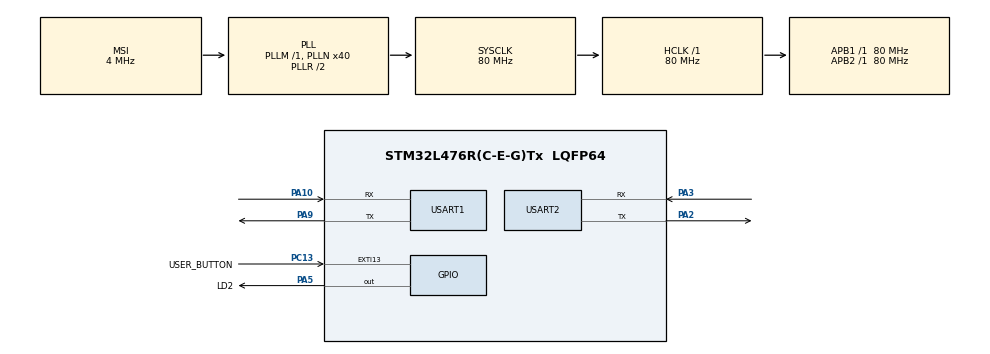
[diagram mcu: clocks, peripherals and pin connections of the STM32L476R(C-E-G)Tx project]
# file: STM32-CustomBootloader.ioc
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CRC.InputDataFormat=CRC_INPUTDATA_FORMAT_WORDS
Mcu.Family=STM32L4
Mcu.Name=STM32L476R(C-E-G)Tx
Mcu.Package=LQFP64
NVIC.EXTI15_10_IRQn=true\:6\:0\:true\:false\:true\:true\:true\:true
NVIC.PriorityGroup=NVIC_PRIORITYGROUP_4
NVIC.USART1_IRQn=true\:0\:0\:true\:false\:true\:true\:true\:true
NVIC.USART2_IRQn=true\:0\:0\:true\:false\:true\:true\:true\:true
PA10.Mode=Asynchronous
PA10.Signal=USART1_RX
PA2.Mode=Asynchronous
PA2.Signal=USART2_TX
PA3.Mode=Asynchronous
PA3.Signal=USART2_RX
PA5.GPIO_Label=LD2
PA5.Signal=GPIO_Output
PA9.Mode=Asynchronous
PA9.Signal=USART1_TX
PC13.GPIO_Label=USER_BUTTON
PC13.Signal=GPXTI13
ProjectManager.HeapSize=0x200
ProjectManager.StackSize=0x400
ProjectManager.TargetToolchain=STM32CubeIDE
RCC.AHBFreq_Value=80000000
RCC.APB1Freq_Value=80000000
RCC.APB1TimFreq_Value=80000000
RCC.APB2Freq_Value=80000000
RCC.APB2TimFreq_Value=80000000
RCC.CortexFreq_Value=80000000
RCC.HCLKFreq_Value=80000000
RCC.HSE_VALUE=8000000
RCC.HSI_VALUE=16000000
RCC.LSE_VALUE=32768
RCC.MSI_VALUE=4000000
RCC.PLLN=40
RCC.SYSCLKFreq_VALUE=80000000
RCC.SYSCLKSource=RCC_SYSCLKSOURCE_PLLCLK
RCC.VCOOutputFreq_Value=160000000
USART1.VirtualMode-Asynchronous=VM_ASYNC
USART2.VirtualMode-Asynchronous=VM_ASYNC
VP_CRC_VS_CRC.Mode=CRC_Activate
board=custom

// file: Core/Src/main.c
/* USER CODE BEGIN Header */
/**
 ******************************************************************************
 * @file           : main.c
 * @brief          : Main program body
 ******************************************************************************
 * @attention
 *
 * Copyright (c) 2023 STMicroelectronics.
 * All rights reserved.
 *
 * This software is licensed under terms that can be found in the LICENSE file
 * in the root directory of this software component.
 * If no LICENSE file comes with this software, it is provided AS-IS.
 *
 ******************************************************************************
 */
/* USER CODE END Header */
#include "main.h"
#include "crc.h"
#include "usart.h"
#include "gpio.h"

/* USER CODE BEGIN Includes */
#include <stdbool.h>
#include <string.h>
#include "ioputchar.h"
#include "boot.h"
/* USER CODE END Includes */

/* USER CODE BEGIN PV */
// Address for main program to be executed after jump from bootloader
uint32_t const APPLICATION_ADDRESS = 0x08008000UL;
uint32_t applicationSize = 0;

UART_HandleTypeDef *uart[2] = { &huart1, &huart2 };
bool g_waitForUsart = true;
bool g_jumpToApp = false;
/* USER CODE END PV */

void SystemClock_Config(void);

/* USER CODE BEGIN 0 */
/*void HAL_UART_RxCpltCallback(UART_HandleTypeDef *huart) {
	if (huart->Instance == USART1) {
		mainUart = uart[0];
	}
	if (huart->Instance == USART2) {
		mainUart = uart[1];
	}
	g_waitForUsart = false;
}*/

void HAL_GPIO_EXTI_Callback(uint16_t pin) {
	if (pin == USER_BUTTON_Pin)
		g_jumpToApp = true;
}
/* USER CODE END 0 */

int main(void) {

	/* MCU Configuration--------------------------------------------------------*/

	/* Reset of all peripherals, Initializes the Flash interface and the Systick. */
	HAL_Init();

	/* Configure the system clock */
	SystemClock_Config();

	/* Initialize all configured peripherals */
	MX_GPIO_Init();
	MX_USART1_UART_Init();
	MX_USART2_UART_Init();
	MX_CRC_Init();
	/* USER CODE BEGIN 2 */
	// Startup test for CRC
	uint32_t echo = 0x12345678;
	uint32_t calculatedChecksum = HAL_CRC_Calculate(&hcrc, &echo, 1);
	if (calculatedChecksum != 0xDF8A8A2B)
		Error_Handler();

	HAL_GPIO_WritePin(LD2_GPIO_Port, LD2_Pin, GPIO_PIN_SET);
	printf("Bootloader start...\n");
	printf("Press user button to jump application (start: 0x08000000)\n");
	printf("or send ECHO command (0x1 0x0 0x0 0x0 0x0) to choose and set UART\n");
	uint8_t pattern[5] = { 1, 0, 0, 0, 0 };
	uint8_t bufferUSART1[5] = { 0 };
	uint8_t bufferUSART2[5] = { 0 };

	//while (/*g_waitForUsart == true ||*/ memcmp(pattern, buffer, 5)) {

	//	if (g_jumpToApp == true)
		//	break;
	//}

	while(1)
	{
		HAL_UART_Receive(&huart1, bufferUSART1, 5, 100);

		if(!memcmp(pattern, bufferUSART1, 5))
		{
			mainUart = uart[0];
			break;
		}
		HAL_UART_Receive(&huart2, bufferUSART2, 5, 100);
		if(!memcmp(pattern, bufferUSART2, 5))
		{
			mainUart = uart[1];
			break;
		}
		if(g_jumpToApp == true)
			break;
	}
	/* USER CODE END 2 */

	/* Infinite loop */
	/* USER CODE BEGIN WHILE */
	if (mainUart != NULL) {
		if (mainUart->Instance == USART1) {
			printf("Set UART1\n");
			printf("DeInit UART2\n");
			HAL_UART_DeInit(uart[1]);
		} else {
			printf("Set UART2\n");
			printf("DeInit UART1\n");
			HAL_UART_DeInit(uart[0]);
		}
		printf("Bootloader ready\n");
	}
	while (1) {
		/* USER CODE END WHILE */

		/* USER CODE BEGIN 3 */
		if (g_jumpToApp == true) {
			printf("Jump to application\n");
			jump_to_application(APPLICATION_ADDRESS);
		}
		if (mainUart != NULL) {
			BootCommand cmd = get_command(mainUart, 1000);
			switch (cmd.opcode) {
			case BOOT_CMD_ECHO: {
				// Simple echo request, respond with OK to tell that
				// the BOOT is running.
				printf("BOOT: ECHO\n");
				respond_ok(mainUart);
				break;
			}
			case BOOT_CMD_SETSIZE: {
				// Set the application size and respond with OK
				applicationSize = cmd.data;
				printf("BOOT: SetSize\n");
				respond_ok(mainUart);
				break;
			}
			case BOOT_CMD_UPDATE: {
				// Update firmware
				if (receive_and_flash_firmware(mainUart, applicationSize)) {
					respond_ok(mainUart);
				} else {
					respond_err(mainUart);
				}
				break;
			}
			case BOOT_CMD_CHECK: {
				// Check if flashed firmware has valid
				if (verify_firmware(applicationSize, cmd.data)) {
					respond_ok(mainUart);
				} else {
					respond_err(mainUart);
				}
				break;
			}
			case BOOT_CMD_JUMP: {
				// Jump directly to the application.
				respond_ok(mainUart);
				jump_to_application(APPLICATION_ADDRESS);
				break;
			}
			case BOOT_CMD_INVALID: {
				// No command received. We have to handle this case, because
				// otherwise the BOOT would indefinitely spam ERR
				// while nothing is happening.
				break;
			}
			default: {
				// Invalid opcode, respond with error.
				respond_err(mainUart);
				break;
			}
			}

		}
	}
	/* USER CODE END 3 */
}

void SystemClock_Config(void) {
	RCC_OscInitTypeDef RCC_OscInitStruct = { 0 };
	RCC_ClkInitTypeDef RCC_ClkInitStruct = { 0 };

	/** Configure the main internal regulator output voltage
	 */
	if (HAL_PWREx_ControlVoltageScaling(PWR_REGULATOR_VOLTAGE_SCALE1)
			!= HAL_OK) {
		Error_Handler();
	}

	/** Initializes the RCC Oscillators according to the specified parameters
	 * in the RCC_OscInitTypeDef structure.
	 */
	RCC_OscInitStruct.OscillatorType = RCC_OSCILLATORTYPE_MSI;
	RCC_OscInitStruct.MSIState = RCC_MSI_ON;
	RCC_OscInitStruct.MSICalibrationValue = 0;
	RCC_OscInitStruct.MSIClockRange = RCC_MSIRANGE_6;
	RCC_OscInitStruct.PLL.PLLState = RCC_PLL_ON;
	RCC_OscInitStruct.PLL.PLLSource = RCC_PLLSOURCE_MSI;
	RCC_OscInitStruct.PLL.PLLM = 1;
	RCC_OscInitStruct.PLL.PLLN = 40;
	RCC_OscInitStruct.PLL.PLLP = RCC_PLLP_DIV7;
	RCC_OscInitStruct.PLL.PLLQ = RCC_PLLQ_DIV2;
	RCC_OscInitStruct.PLL.PLLR = RCC_PLLR_DIV2;
	if (HAL_RCC_OscConfig(&RCC_OscInitStruct) != HAL_OK) {
		Error_Handler();
	}

	/** Initializes the CPU, AHB and APB buses clocks
	 */
	RCC_ClkInitStruct.ClockType = RCC_CLOCKTYPE_HCLK | RCC_CLOCKTYPE_SYSCLK
			| RCC_CLOCKTYPE_PCLK1 | RCC_CLOCKTYPE_PCLK2;
	RCC_ClkInitStruct.SYSCLKSource = RCC_SYSCLKSOURCE_PLLCLK;
	RCC_ClkInitStruct.AHBCLKDivider = RCC_SYSCLK_DIV1;
	RCC_ClkInitStruct.APB1CLKDivider = RCC_HCLK_DIV1;
	RCC_ClkInitStruct.APB2CLKDivider = RCC_HCLK_DIV1;

	if (HAL_RCC_ClockConfig(&RCC_ClkInitStruct, FLASH_LATENCY_4) != HAL_OK) {
		Error_Handler();
	}
}

void Error_Handler(void) {
	__disable_irq();
	while (1) {
	}
}
